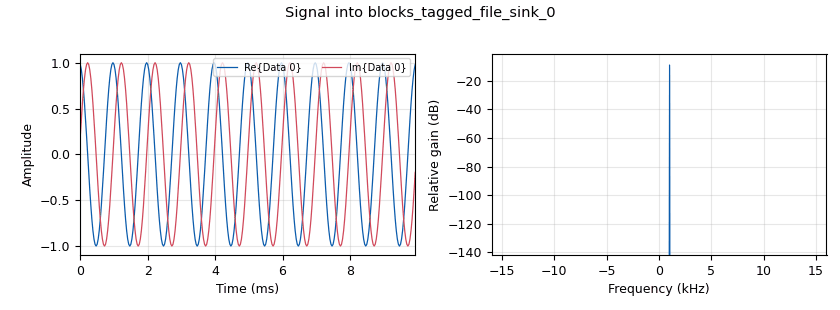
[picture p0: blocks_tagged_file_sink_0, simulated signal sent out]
options:
  parameters:
    generate_options: qt_gui
    id: tagged_file_sink_test
    output_language: python
    title: Tagged File Sink Test
  states: {}

blocks:
- name: burst
  id: variable_qtgui_check_box
  parameters:
    comment: |-
      Check the box to start a new burst file
      Uncheck the box to close the file
    'false': 'False'
    gui_hint: 0,0,1,1
    'true': 'True'
    type: bool
    value: 'False'
  states: {}
- name: samp_rate
  id: variable
  parameters:
    value: '32000'
  states: {}
- name: variable_qtgui_label_0
  id: variable_qtgui_label
  parameters:
    gui_hint: 1,0,1,1
    label: Check the box to start a new burst file
    type: string
    value: ''
  states: {}
- name: variable_qtgui_label_0_0
  id: variable_qtgui_label
  parameters:
    gui_hint: 2,0,1,1
    label: Uncheck the box to close the file
    type: string
    value: ''
  states: {}
- name: analog_sig_source_x_0
  id: analog_sig_source_x
  parameters:
    amp: '1'
    freq: '1000'
    offset: '0'
    phase: '0'
    samp_rate: samp_rate
    type: complex
    waveform: analog.GR_COS_WAVE
  states: {}
- name: block_test_bursts
  id: epy_block
  parameters:
    _source_code: |
      """
      Embedded Python Blocks:

      Each time this file is saved, GRC will instantiate the first class it finds
      to get ports and parameters of your block. The arguments to __init__  will
      be the parameters. All of them are required to have default values!
      """

      import numpy as np
      from gnuradio import gr
      import pmt

      class blk(gr.sync_block):  # other base classes are basic_block, decim_block, interp_block
          """Embedded Python Block example - a simple multiply const"""

          def __init__(self, burst=False):  # only default arguments here
              """arguments to this function show up as parameters in GRC"""
              gr.sync_block.__init__(
                  self,
                  name='Embedded Python Block',   # will show up in GRC
                  in_sig=[np.complex64],
                  out_sig=[np.complex64]
              )
              
              self.burst = burst
              self.burst_state = False

          def work(self, input_items, output_items):
              """example: multiply with constant"""
              
              if self.burst != self.burst_state:        
                  self.burst_state = self.burst
              
                  key = pmt.intern("burst")
                  value = pmt.from_bool(self.burst_state)
                  self.add_item_tag(0, self.nitems_written(0), key, value)
              
              output_items[0][:] = input_items[0] 
              return len(output_items[0])
    burst: burst
  states: {}
- name: blocks_tag_debug_0
  id: blocks_tag_debug
  parameters:
    type: complex
  states: {}
- name: blocks_tagged_file_sink_0
  id: blocks_tagged_file_sink
  parameters:
    samp_rate: samp_rate
    type: complex
  states: {}
- name: blocks_throttle2_0
  id: blocks_throttle2
  parameters:
    samples_per_second: samp_rate
    type: complex
  states: {}

connections:
- [analog_sig_source_x_0, '0', blocks_throttle2_0, '0']
- [block_test_bursts, '0', blocks_tag_debug_0, '0']
- [block_test_bursts, '0', blocks_tagged_file_sink_0, '0']
- [blocks_throttle2_0, '0', block_test_bursts, '0']

metadata:
  file_format: 1
  grc_version: 3.10.10.0
